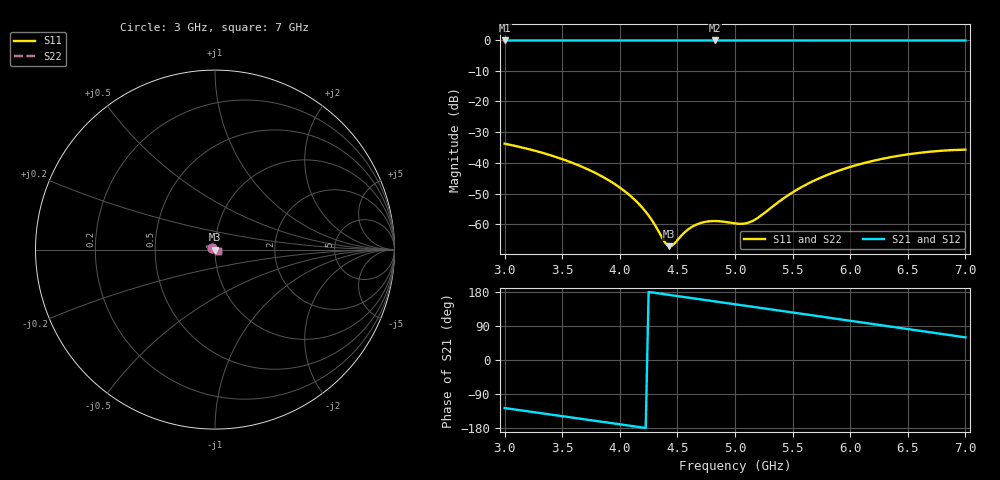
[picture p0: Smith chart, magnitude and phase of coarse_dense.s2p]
! yapnr rf: line-osh-w-w3p00-l20-w-eq-em528, footprint re-simulated (optimization grid)
! spec sha256 ef29d7d1aaecd756b5468a8d007167f15a2ba35b7be2beb2842e3781011f77d4
! 2 ports renormalized to 50 ohm, e^(+jwt) convention
# GHz S RI R 50
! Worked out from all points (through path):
!   161 points, 3 GHz to 7 GHz, reference 50 ohm
!   highest |S21| = -0.17 dB at 3 GHz (marker M1); lowest = -0.2 dB at 4.825 GHz (marker M2)
!   group delay of S21, straight-line fit = 120 ps
!   lowest |S11| = -67.1 dB at 4.425 GHz (marker M3), VSWR 1.00, Z = 50 - j0.00334 ohm
!   |S11| at or under -10 dB: start of sweep to end of sweep
!   |S22| runs from -67.1 to -33.7 dB; largest |S21 - S12| = 0
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3  -0.0172 0.0113  -0.5864 -0.7854  -0.5864 -0.7854  -0.0172 0.0113
3.375  -0.0094 0.01  -0.7805 -0.5925  -0.7805 -0.5925  -0.0094 0.01
3.675  -0.00477 0.00717  -0.8928 -0.4036  -0.8928 -0.4036  -0.00477 0.00717
3.9  -0.0025 0.00464  -0.9478 -0.2478  -0.9478 -0.2478  -0.0025 0.00464
4.1  -0.00127 0.00252  -0.9741 -0.103  -0.9741 -0.103  -0.00127 0.00252
4.225  -0.00082 0.00138  -0.9795 -0.011  -0.9795 -0.011  -0.00082 0.00138
4.35  -0.000545 0.000432  -0.9761 0.0812  -0.9761 0.0812  -0.000545 0.000432
4.4  -0.000472 0.000113  -0.9724 0.1179  -0.9724 0.1179  -0.000472 0.000113
4.425  -0.000442 -3.35e-05  -0.97 0.1362  -0.97 0.1362  -0.000442 -3.35e-05
4.45  -0.000414 -0.00017  -0.9672 0.1545  -0.9672 0.1545  -0.000414 -0.00017
4.625  -0.000269 -0.000869  -0.9384 0.2805  -0.9384 0.2805  -0.000269 -0.000869
4.725  -0.000181 -0.00107  -0.9146 0.3505  -0.9146 0.3505  -0.000181 -0.00107
4.825  -5.17e-05 -0.00113  -0.8855 0.4186  -0.8855 0.4186  -5.17e-05 -0.00113
5  0.000346 -0.000979  -0.8224 0.5319  -0.8224 0.5319  0.000346 -0.000979
5.075  0.000606 -0.00083  -0.7909 0.5777  -0.7909 0.5777  0.000606 -0.00083
5.15  0.000928 -0.000649  -0.7568 0.6217  -0.7568 0.6217  0.000928 -0.000649
5.475  0.00309 0.000235  -0.5822 0.7877  -0.5822 0.7877  0.00309 0.000235
5.675  0.005 0.000565  -0.4562 0.8668  -0.4562 0.8668  0.005 0.000565
5.975  0.00832 0.000276  -0.2481 0.9477  -0.2481 0.9477  0.00832 0.000276
6.35  0.0123 -0.00178  0.0294 0.9793  0.0294 0.9793  0.0123 -0.00178
6.675  0.0143 -0.00482  0.2695 0.9419  0.2695 0.9419  0.0143 -0.00482
7  0.0143 -0.00811  0.4935 0.8464  0.4935 0.8464  0.0143 -0.00811
